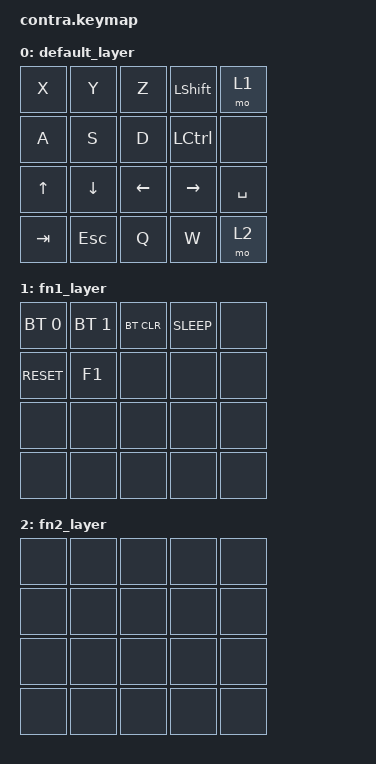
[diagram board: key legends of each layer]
#include <behaviors.dtsi>
#include <dt-bindings/zmk/keys.h>
#include <dt-bindings/zmk/bt.h>
#include <dt-bindings/zmk/led.h>

/ {
    // ========== 核心：定义14+2个独立GPIO按键 ==========
    kscan {
        compatible = "zmk,kscan-gpio-direct";
        status = "okay";

        // 14个操作键 + 2个功能键（示例引脚，你替换成自己的！）
        // 格式：按键名 { gpios = <&gpioX 引脚号 电平>; label = "按键标签"; };
        // GPIO_ACTIVE_LOW = 按键按下时引脚接地（最常用）
        key_x { gpios = <&gpio0 11 (GPIO_ACTIVE_LOW)>; label = "KEY_X"; };     // 轻拳
        key_y { gpios = <&gpio0 12 (GPIO_ACTIVE_LOW)>; label = "KEY_Y"; };     // 中拳
        key_z { gpios = <&gpio0 13 (GPIO_ACTIVE_LOW)>; label = "KEY_Z"; };     // 重拳
        key_lshift { gpios = <&gpio0 14 (GPIO_ACTIVE_LOW)>; label = "KEY_LSHIFT"; }; // 特殊技1
        key_fn1 { gpios = <&gpio0 15 (GPIO_ACTIVE_LOW)>; label = "KEY_FN1"; }; // 功能键1（层切换）

        key_a { gpios = <&gpio0 16 (GPIO_ACTIVE_LOW)>; label = "KEY_A"; };     // 轻脚
        key_s { gpios = <&gpio0 17 (GPIO_ACTIVE_LOW)>; label = "KEY_S"; };     // 中脚
        key_d { gpios = <&gpio0 18 (GPIO_ACTIVE_LOW)>; label = "KEY_D"; };     // 重脚
        key_lctrl { gpios = <&gpio0 19 (GPIO_ACTIVE_LOW)>; label = "KEY_LCTRL"; }; // 特殊技2
        key_none1 { gpios = <&gpio0 20 (GPIO_ACTIVE_LOW)>; label = "KEY_NONE1"; }; // 空键

        key_up { gpios = <&gpio1 0 (GPIO_ACTIVE_LOW)>; label = "KEY_UP"; };    // 上
        key_down { gpios = <&gpio1 1 (GPIO_ACTIVE_LOW)>; label = "KEY_DOWN"; }; // 下
        key_left { gpios = <&gpio1 2 (GPIO_ACTIVE_LOW)>; label = "KEY_LEFT"; }; // 左
        key_right { gpios = <&gpio1 3 (GPIO_ACTIVE_LOW)>; label = "KEY_RIGHT"; }; // 右
        key_space { gpios = <&gpio1 4 (GPIO_ACTIVE_LOW)>; label = "KEY_SPACE"; }; // 闪避

        key_tab { gpios = <&gpio1 5 (GPIO_ACTIVE_LOW)>; label = "KEY_TAB"; };   // 爆气
        key_esc { gpios = <&gpio1 6 (GPIO_ACTIVE_LOW)>; label = "KEY_ESC"; };   // 挑衅
        key_q { gpios = <&gpio1 7 (GPIO_ACTIVE_LOW)>; label = "KEY_Q"; };       // 连招1
        key_w { gpios = <&gpio1 8 (GPIO_ACTIVE_LOW)>; label = "KEY_W"; };       // 连招2
        key_fn2 { gpios = <&gpio1 9 (GPIO_ACTIVE_LOW)>; label = "KEY_FN2"; };   // 功能键2（层切换）
    };

    // ========== 格斗键位映射（和之前一致）==========
    keymap {
        compatible = "zmk,keymap";

        default_layer {
            bindings = <
                // 对应上面定义的按键：key_x → &kp X，以此类推
                &kp X    &kp Y    &kp Z    &kp LSHIFT  &mo 1
                &kp A    &kp S    &kp D    &kp LCTRL   &none
                &kp UP   &kp DOWN &kp LEFT &kp RIGHT   &kp SPACE
                &kp TAB  &kp ESC  &kp Q    &kp W       &mo 2
            >;
        };

        fn1_layer {
            bindings = <
                &bt BT_SEL 0 &bt BT_SEL 1 &bt BT_CLR &kp SLEEP &none
                &kp RESET &kp F1   &none    &none     &none
                &none     &none    &none    &none     &none
                &none &none &none &none &none
            >;
        };

        fn2_layer {
            bindings = <
                &none &none &none &none &none
                &none &none &none &none &none
                &none &none &none &none &none
                &none &none &none &none &none
            >;
        };
    };

    // ========== I2C LED 基础配置（先保留，按键能用后再调效果）==========
    i2c0 {
        compatible = "nordic,nrf-twi";
        sda-pin = <17>;
        scl-pin = <20>;
        clock-frequency = <400000>;
        status = "okay";
    };
};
